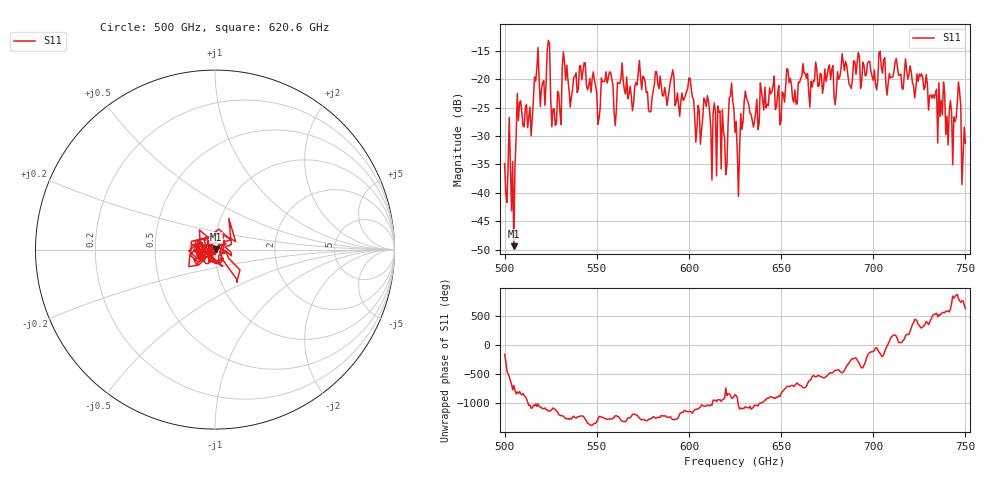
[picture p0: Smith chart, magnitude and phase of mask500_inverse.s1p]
!Created with skrf (http://scikit-rf.org).
# GHz S MA R 50.0
!freq magS11 angS11
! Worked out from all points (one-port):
!   401 points, 500 GHz to 750 GHz, reference 50 ohm
!   lowest |S11| = -49.4 dB at 505 GHz (marker M1), VSWR 1.01, Z = 50.3 + j0.126 ohm
!   |S11| at or under -10 dB: start of sweep to end of sweep
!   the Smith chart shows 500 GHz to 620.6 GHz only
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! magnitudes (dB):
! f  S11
! 500 GHz  -34.9
! 505 GHz  -49.4
! 508.1 GHz  -24.0
! 513.8 GHz  -24.9
! 516.9 GHz  -20.3
! 520.6 GHz  -20.7
! 523.8 GHz  -13.2
! 526.9 GHz  -25.2
! 531.2 GHz  -18.0
! 542.5 GHz  -18.7
! 550.6 GHz  -27.9
! 562.5 GHz  -20.7
! 590.6 GHz  -19.4
! 593.8 GHz  -22.4
! 600 GHz  -19.8
! 605 GHz  -24.6
! 609.4 GHz  -24.8
! 620 GHz  -36.8
! 623.1 GHz  -20.7
! 625 GHz  -29.4
! 626.2 GHz  -32.9
! 631.2 GHz  -23.4
! 656.2 GHz  -23.5
! 687.5 GHz  -21.2
! 718.8 GHz  -20.0
! 741.9 GHz  -23.8
! 746.2 GHz  -20.5
! 750 GHz  -31.3
